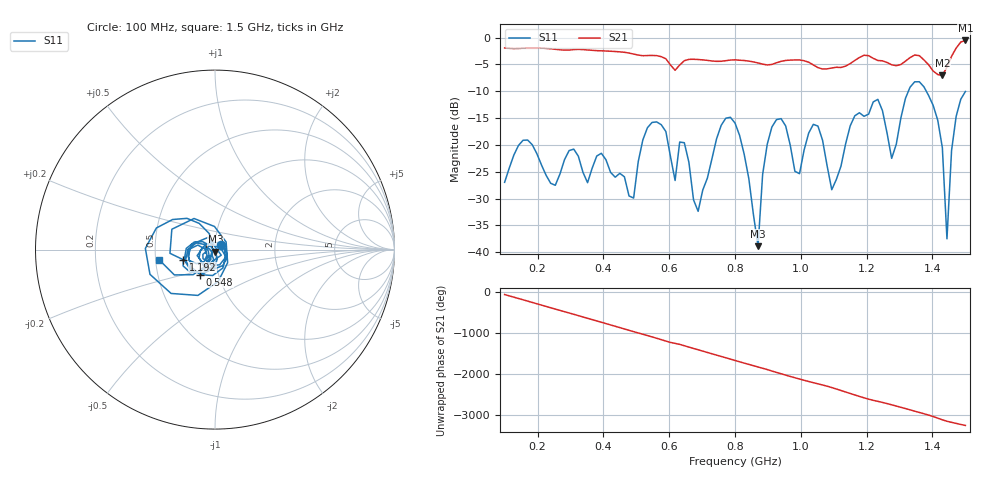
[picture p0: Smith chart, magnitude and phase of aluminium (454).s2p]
! NanoVNA-App
! Date: 2025-09-25 14:58:49
! Start: 100MHz Stop: 1,5GHz Points: 101
! S-Parameter data: F S11 S21 S12 S22
# Hz S RI R 50
!  Frequency  S11_Real  S11_Imag  S21_Real  S21_Imag  S12_Real  S12_Imag  S22_Real  S22_Imag
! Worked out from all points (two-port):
!   101 points, 100 MHz to 1.5 GHz, reference 50 ohm
!   highest |S21| = -0.53 dB at 1.5 GHz (marker M1); lowest = -7.0 dB at 1.43 GHz (marker M2)
!   |S21| within 3 dB of the highest: start of sweep to 574.5 MHz; 1.458 GHz to end of sweep (the widest 2 of 4)
!   lowest |S11| = -38.9 dB at 870 MHz (marker M3), VSWR 1.02, Z = 50.3 - j1.11 ohm
!   |S11| at or under -10 dB: start of sweep to 1.327 GHz; 1.381 GHz to end of sweep
!   S12 and S22 are empty: the file has one direction only
!   S11 on the Smith chart (normalised r, x): 100 MHz: 1.07, +0.06; 548 MHz: 0.82, -0.23; 1.192 GHz: 0.70, -0.08; 1.5 GHz: 0.52, -0.07
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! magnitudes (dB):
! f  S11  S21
! 100 MHz  -27.0  -1.9
! 156 MHz  -19.1  -2.0
! 338 MHz  -25.1  -2.2
! 492 MHz  -29.9  -3.1
! 548 MHz  -15.8  -3.3
! 576 MHz  -16.2  -3.5
! 646 MHz  -19.6  -4.3
! 688 MHz  -32.4  -4.1
! 800 MHz  -15.9  -4.1
! 870 MHz  -38.9  -4.7
! 912 MHz  -16.7  -5.0
! 996 MHz  -25.3  -4.2
! 1.038 GHz  -16.2  -5.1
! 1.094 GHz  -28.3  -5.7
! 1.192 GHz  -14.7  -3.3
! 1.234 GHz  -11.5  -4.3
! 1.276 GHz  -22.5  -5.1
! 1.346 GHz  -8.2  -3.2
! 1.43 GHz  -20.5  -7.0
! 1.444 GHz  -37.5  -5.5
! 1.458 GHz  -21.0  -3.5
! 1.5 GHz  -10.0  -0.5
